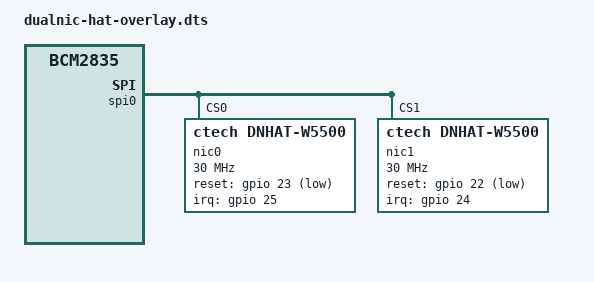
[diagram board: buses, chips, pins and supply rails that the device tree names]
// SPDX-License-Identifier: GPL-2.0
/*
 * dualnic-hat-overlay.dts -- DualNIC-HAT Device Tree overlay
 *
 * SPI numaralandirilamaz bir veri yoludur; hattaki bir cipin kimligini
 * soracak standart bir mekanizma yoktur. Kartin uzerindeki iki W5500
 * denetleyicisi bu nedenle sisteme Device Tree ile bildirilir.
 *
 * Kaynak haritasi, donanim ekibiyle birinci gunde mutabik kalinan arayuz
 * sozlesmesinden alinmistir (Tablo 1.2):
 *
 *   NIC #1 : CE0, INT = GPIO25, RST = GPIO23, MAC 02:00:00:00:00:01
 *   NIC #2 : CE1, INT = GPIO24, RST = GPIO22, MAC 02:00:00:00:00:02
 *
 * Reset hatlarinin Device Tree uzerinden bildirilmesi bilincli bir
 * tercihtir: surucu, GPIO numarasini kaynak kodunda sabit olarak
 * barindirmaz; boylece kartin bir sonraki revizyonunda hat degisse dahi
 * surucu yeniden derlenmeden calismaya devam eder.
 *
 * Derleme:
 *   dtc -@ -I dts -O dtb -o dualnic-hat.dtbo dualnic-hat-overlay.dts
 * Kullanim:
 *   sudo dtoverlay dualnic-hat            (gecici)
 *   /boot/firmware/config.txt: dtoverlay=dualnic-hat   (kalici)
 */

/dts-v1/;
/plugin/;

#include <dt-bindings/interrupt-controller/irq.h>
#include <dt-bindings/gpio/gpio.h>

/ {
	compatible = "brcm,bcm2835";

	/* spidev, ayni chip select hatlarini kullandigindan devre disi
	 * birakilir. Aksi halde /sys/bus/spi/devices/ altinda spidev
	 * cihazlari olusur ve surucu ile eslesme gerceklesmez (Tablo 6.1).
	 */
	fragment@0 {
		target = <&spidev0>;
		__overlay__ {
			status = "disabled";
		};
	};

	fragment@1 {
		target = <&spidev1>;
		__overlay__ {
			status = "disabled";
		};
	};

	fragment@2 {
		target = <&spi0>;
		__overlay__ {
			status = "okay";
			#address-cells = <1>;
			#size-cells = <0>;

			/* ---- NIC #1 : CE0, INT=GPIO25, RST=GPIO23 ---- */
			nic0: nic@0 {
				compatible	= "ctech,dnhat-w5500";
				reg		= <0>;
				spi-max-frequency = <30000000>;

				interrupt-parent = <&gpio>;
				interrupts	= <25 IRQ_TYPE_EDGE_FALLING>;

				reset-gpios	= <&gpio 23 GPIO_ACTIVE_LOW>;
				local-mac-address = [02 00 00 00 00 01];
				status		= "okay";
			};

			/* ---- NIC #2 : CE1, INT=GPIO24, RST=GPIO22 ---- */
			nic1: nic@1 {
				compatible	= "ctech,dnhat-w5500";
				reg		= <1>;
				spi-max-frequency = <30000000>;

				interrupt-parent = <&gpio>;
				interrupts	= <24 IRQ_TYPE_EDGE_FALLING>;

				reset-gpios	= <&gpio 22 GPIO_ACTIVE_LOW>;
				local-mac-address = [02 00 00 00 00 02];
				status		= "okay";
			};
		};
	};
};
